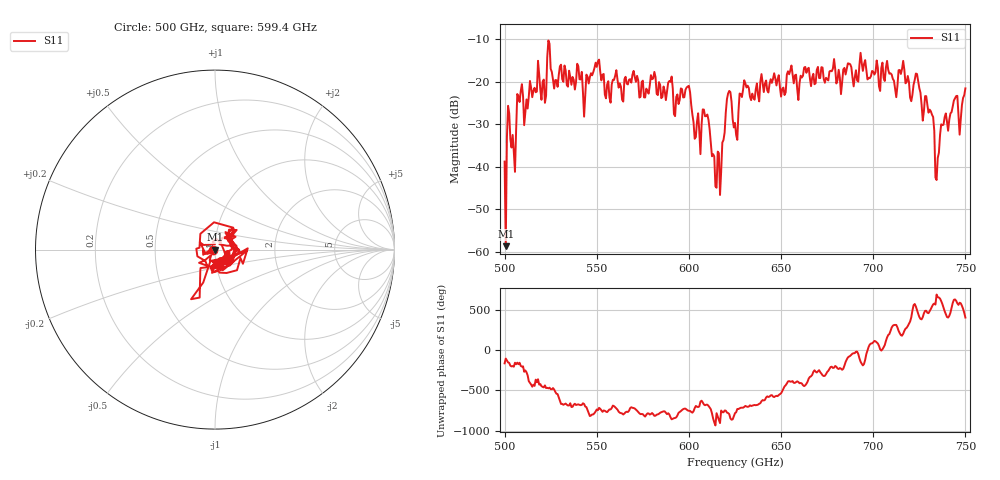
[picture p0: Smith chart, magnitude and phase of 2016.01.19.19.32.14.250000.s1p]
!Created with skrf (http://scikit-rf.org).
# GHz S RI R 50.0
!freq ReS11 ImS11
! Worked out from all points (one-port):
!   401 points, 500 GHz to 750 GHz, reference 50 ohm
!   lowest |S11| = -58.7 dB at 500.6 GHz (marker M1), VSWR 1.00, Z = 50 - j0.112 ohm
!   |S11| at or under -10 dB: start of sweep to end of sweep
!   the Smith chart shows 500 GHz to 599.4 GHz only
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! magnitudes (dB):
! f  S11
! 500 GHz  -38.8
! 500.6 GHz  -58.7
! 502.5 GHz  -27.4
! 505 GHz  -36.5
! 508.1 GHz  -24.8
! 521.2 GHz  -19.5
! 524.4 GHz  -11.0
! 527.5 GHz  -19.6
! 531.2 GHz  -19.4
! 543.8 GHz  -23.1
! 550 GHz  -16.5
! 562.5 GHz  -20.3
! 580.6 GHz  -19.2
! 593.8 GHz  -23.0
! 599.4 GHz  -21.1
! 605 GHz  -27.4
! 608.8 GHz  -28.1
! 615.6 GHz  -36.4
! 621.2 GHz  -22.8
! 625 GHz  -29.7
! 630.6 GHz  -20.4
! 656.2 GHz  -18.2
! 687.5 GHz  -15.9
! 718.8 GHz  -18.6
! 729.4 GHz  -25.4
! 735 GHz  -37.9
! 738.1 GHz  -30.1
! 750 GHz  -21.6
